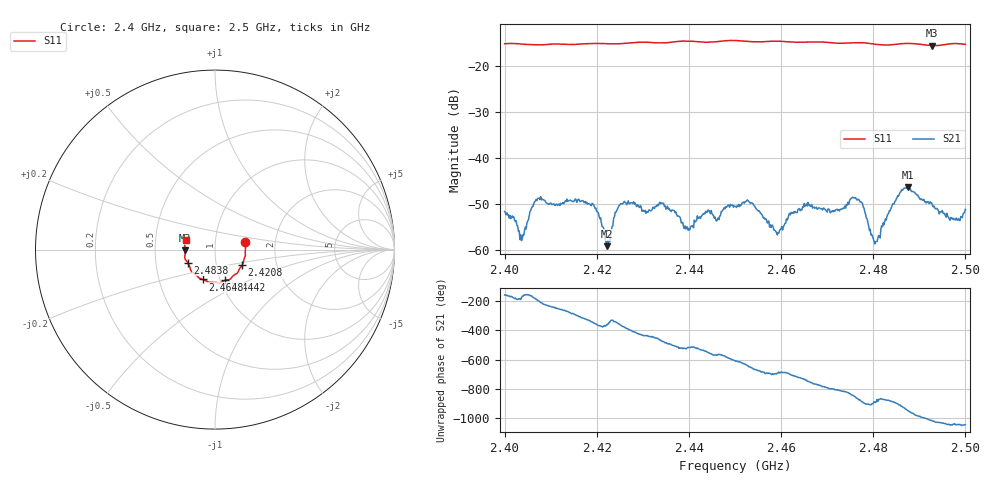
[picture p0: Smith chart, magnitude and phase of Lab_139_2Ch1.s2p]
# Hz S RI R 50
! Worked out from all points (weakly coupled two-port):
!   601 points, 2.4 GHz to 2.5 GHz, reference 50 ohm
!   highest |S21| = -46.29 dB at 2.4875 GHz (marker M1); lowest = -59.1 dB at 2.4222 GHz (marker M2)
!   lowest |S11| = -15.6 dB at 2.4928 GHz (marker M3), VSWR 1.40, Z = 35.8 - j0.357 ohm
!   |S11| at or under -10 dB: start of sweep to end of sweep
!   S12 and S22 are empty: the file has one direction only
!   S11 on the Smith chart (normalised r, x): 2.4 GHz: 1.40, +0.12; 2.4208 GHz: 1.33, -0.24; 2.4442 GHz: 1.05, -0.37; 2.4648 GHz: 0.83, -0.28; 2.4838 GHz: 0.73, -0.11; 2.5 GHz: 0.72, +0.08
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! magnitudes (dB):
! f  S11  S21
! 2.4 GHz  -15.2  -51.5
! 2.4038 GHz  -15.3  -57.5
! 2.4073 GHz  -15.4  -48.7
! 2.4167 GHz  -15.3  -49.3
! 2.4208 GHz  -15.2  -52.9
! 2.4222 GHz  -15.2  -59.1
! 2.4255 GHz  -15.2  -49.9
! 2.4333 GHz  -15.0  -50.3
! 2.4398 GHz  -14.6  -55.6
! 2.4442 GHz  -14.9  -51.2
! 2.45 GHz  -14.5  -50.5
! 2.4532 GHz  -14.7  -49.6
! 2.4592 GHz  -14.7  -56.6
! 2.4648 GHz  -14.9  -50.6
! 2.4667 GHz  -14.8  -50.1
! 2.4765 GHz  -15.0  -49.1
! 2.4805 GHz  -15.3  -58.1
! 2.4833 GHz  -15.5  -52.0
! 2.4838 GHz  -15.4  -50.9
! 2.4875 GHz  -15.2  -46.3
! 2.4928 GHz  -15.6  -50.3
! 2.5 GHz  -15.3  -51.1
